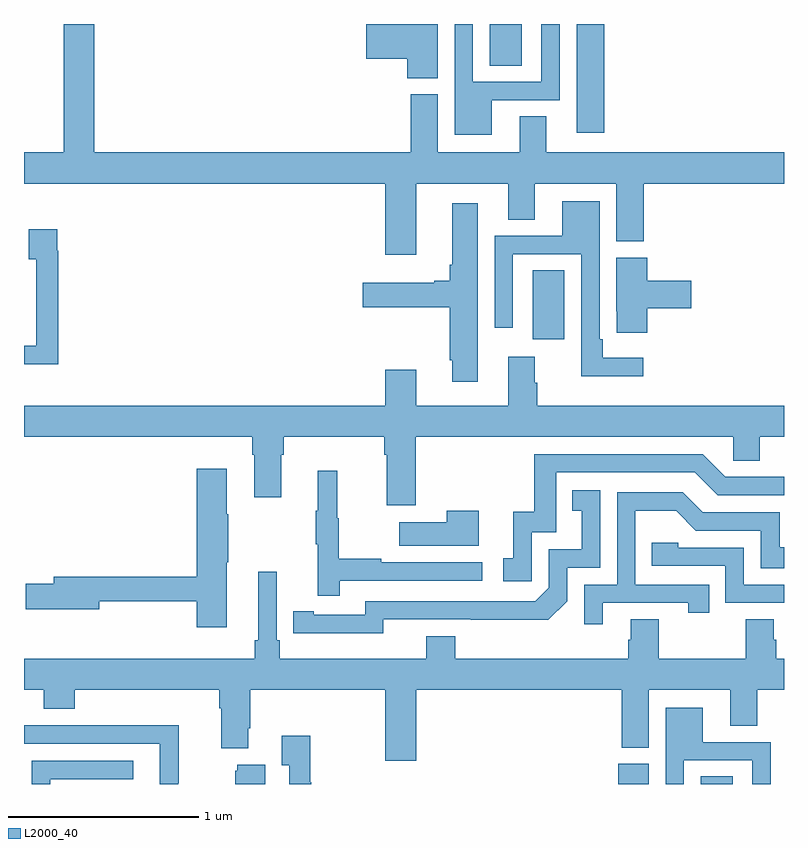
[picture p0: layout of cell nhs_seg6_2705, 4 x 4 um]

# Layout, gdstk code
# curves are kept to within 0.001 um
import gdstk
lib = gdstk.Library(unit=1e-6, precision=1e-09)
def R(c, l, rs):  # rectangles x0, y0, x1, y1
    for r in rs: c.add(gdstk.rectangle(r[:2], r[2:], *l))
def P(c, l, *ps):  # polygons
    for p in ps: c.add(gdstk.Polygon(p, *l))
L2000_40 = (2000, 40)

nhs_seg6_2705 = lib.new_cell('nhs_seg6_2705')
R(nhs_seg6_2705, L2000_40, [(274.127,953.5,274.288,953.607), (274.562,953.5,274.729,953.54), (273.677,955.842,273.844,956.204), (273.908,956.928,274.055,957.5), (273.452,957.28,273.619,957.5)])
P(nhs_seg6_2705, L2000_40, [(273.064,956.66),(273.548,956.66),(273.548,956.47),(273.688,956.47),(273.688,956.66),(274.118,956.66),(274.118,956.356),(274.262,956.356),(274.262,956.66),(275,956.66),(275,956.824),(273.748,956.824),(273.748,957.014),(273.608,957.014),(273.608,956.824),(273.178,956.824),(273.178,957.129),(273.035,957.129),(273.035,956.824),(271.37,956.824),(271.37,957.5),(271.21,957.5),(271.21,956.824),(271,956.824),(271,956.66),(272.9,956.66),(272.9,956.286),(273.064,956.286)],
  [(273.463,957.099),(273.819,957.099),(273.819,957.5),(273.723,957.5),(273.723,957.195),(273.363,957.195),(273.363,957.5),(273.267,957.5),(273.267,956.918),(273.463,956.918)],
  [(273.178,957.497),(273.177,957.497),(273.177,957.5),(272.802,957.5),(272.802,957.317),(273.017,957.317),(273.017,957.214),(273.178,957.214)],
  [(274.258,955.744),(274.045,955.744),(274.045,955.84),(274.029,955.84),(274.029,956.566),(273.833,956.566),(273.833,956.385),(273.477,956.385),(273.477,955.902),(273.573,955.902),(273.573,956.289),(273.933,956.289),(273.933,955.646),(274.258,955.646)],
  [(273.388,956.557),(273.254,956.557),(273.254,956.233),(273.242,956.233),(273.242,956.15),(273.158,956.15),(273.158,956.137),(272.784,956.137),(272.784,956.008),(273.242,956.008),(273.242,955.729),(273.254,955.729),(273.254,955.617),(273.388,955.617)],
  [(271.181,956.306),(271.174,956.306),(271.174,956.419),(271.025,956.419),(271.025,956.263),(271.065,956.263),(271.065,955.806),(271,955.806),(271,955.709),(271.181,955.709)],
  [(274.28,956.003),(274.513,956.003),(274.513,956.15),(274.28,956.15),(274.28,956.271),(274.118,956.271),(274.118,955.987),(274.119,955.987),(274.119,955.875),(274.28,955.875)],
  [(273.548,955.75),(273.548,955.492),(273.064,955.492),(273.064,955.681),(272.9,955.681),(272.9,955.492),(271,955.492),(271,955.328),(272.201,955.328),(272.201,955.232),(272.213,955.232),(272.213,955.008),(272.353,955.008),(272.353,955.232),(272.366,955.232),(272.366,955.328),(272.897,955.328),(272.897,955.232),(272.909,955.232),(272.909,954.966),(273.062,954.966),(273.062,955.328),(274.734,955.328),(274.734,955.201),(274.873,955.201),(274.873,955.328),(275,955.328),(275,955.492),(273.701,955.492),(273.701,955.613),(273.688,955.613),(273.688,955.75)],
  [(273.672,954.825),(273.801,954.825),(273.801,955.14),(274.53,955.14),(274.65,955.02),(275,955.02),(275,955.116),(274.692,955.116),(274.572,955.236),(273.685,955.236),(273.685,954.934),(273.575,954.934),(273.575,954.687),(273.522,954.687),(273.522,954.567),(273.672,954.567)],
  [(272.068,954.667),(272.076,954.667),(272.076,954.92),(272.068,954.92),(272.068,955.159),(271.91,955.159),(271.91,954.59),(271.157,954.59),(271.157,954.554),(271.008,954.554),(271.008,954.419),(271.396,954.419),(271.396,954.462),(271.91,954.462),(271.91,954.324),(272.068,954.324)],
  [(272.663,954.57),(273.412,954.57),(273.412,954.666),(272.879,954.666),(272.879,954.686),(272.656,954.686),(272.656,954.9),(272.648,954.9),(272.648,955.15),(272.546,955.15),(272.546,954.937),(272.535,954.937),(272.535,954.763),(272.546,954.763),(272.546,954.492),(272.663,954.492)],
  [(272.892,954.366),(273.76,954.365),(273.858,954.462),(273.858,954.639),(274.032,954.639),(274.032,955.045),(273.886,955.045),(273.886,954.939),(273.935,954.939),(273.935,954.735),(273.762,954.735),(273.762,954.534),(273.69,954.462),(272.796,954.462),(272.796,954.39),(272.524,954.39),(272.524,954.41),(272.416,954.41),(272.416,954.294),(272.892,954.293)],
  [(274.045,954.453),(274.496,954.453),(274.496,954.402),(274.607,954.402),(274.607,954.549),(274.218,954.549),(274.218,954.938),(274.432,954.938),(274.536,954.834),(274.878,954.834),(274.878,954.636),(275,954.636),(275,954.745),(274.977,954.745),(274.977,954.93),(274.573,954.93),(274.468,955.035),(274.122,955.035),(274.122,954.549),(273.948,954.549),(273.948,954.342),(274.045,954.342)],
  [(273.394,954.937),(273.224,954.937),(273.224,954.877),(272.975,954.877),(272.975,954.755),(273.394,954.755)],
  [(275,954.549),(274.788,954.549),(274.788,954.744),(274.443,954.744),(274.443,954.771),(274.303,954.771),(274.303,954.648),(274.692,954.648),(274.692,954.453),(275,954.453)],
  [(273.064,953.996),(274.145,953.996),(274.145,953.692),(274.288,953.692),(274.288,953.996),(274.718,953.996),(274.718,953.806),(274.858,953.806),(274.858,953.996),(275,953.996),(275,954.16),(274.958,954.16),(274.958,954.258),(274.945,954.258),(274.945,954.368),(274.798,954.368),(274.798,954.16),(274.341,954.16),(274.341,954.368),(274.193,954.368),(274.193,954.258),(274.181,954.258),(274.181,954.16),(273.269,954.16),(273.269,954.277),(273.116,954.277),(273.116,954.16),(272.345,954.16),(272.345,954.256),(272.331,954.256),(272.331,954.616),(272.234,954.616),(272.234,954.256),(272.215,954.256),(272.215,954.16),(271,954.16),(271,953.996),(271.103,953.996),(271.103,953.897),(271.268,953.897),(271.268,953.996),(272.027,953.996),(272.027,953.9),(272.039,953.9),(272.039,953.687),(272.179,953.687),(272.179,953.794),(272.192,953.794),(272.192,953.996),(272.9,953.996),(272.9,953.622),(273.064,953.622)],
  [(274.473,953.625),(274.833,953.625),(274.833,953.5),(274.929,953.5),(274.929,953.721),(274.573,953.721),(274.573,953.902),(274.377,953.902),(274.377,953.5),(274.473,953.5)],
  [(271.812,953.503),(271.815,953.503),(271.815,953.81),(271.351,953.81),(271.351,953.808),(271,953.808),(271,953.712),(271.715,953.712),(271.715,953.5),(271.812,953.5)],
  [(272.513,953.51),(272.506,953.51),(272.506,953.755),(272.357,953.755),(272.357,953.599),(272.397,953.599),(272.397,953.5),(272.513,953.5)],
  [(271.137,953.526),(271.576,953.526),(271.576,953.622),(271.041,953.622),(271.041,953.5),(271.137,953.5)],
  [(272.269,953.602),(272.123,953.602),(272.123,953.571),(272.111,953.571),(272.111,953.5),(272.269,953.5)])

lib.write_gds('nhs_seg6_2705.gds')
